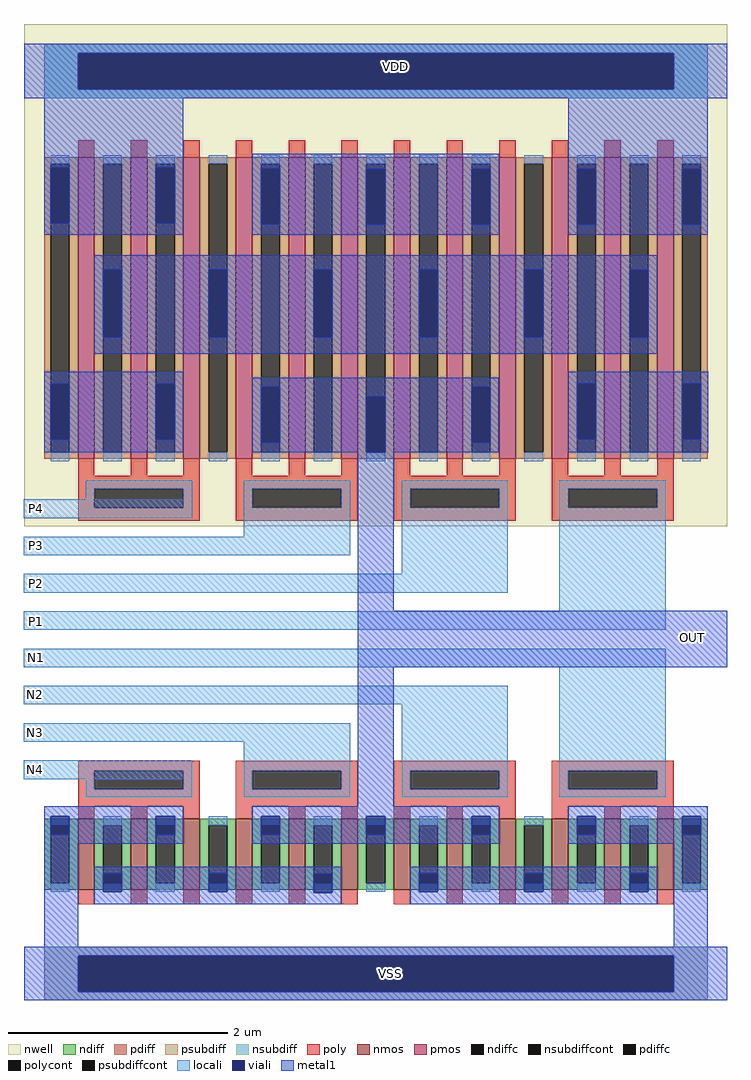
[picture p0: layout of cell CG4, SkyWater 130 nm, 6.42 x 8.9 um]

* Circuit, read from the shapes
.subckt CG4 VDD VSS N1 N2 N3 N4 P1 P2 P3 P4 OUT
XM1 n5 N4 VSS VSS sky130_fd_pr__nfet_01v8 w=0.65 l=0.15 m=3
XM2 OUT N3 n5 VSS sky130_fd_pr__nfet_01v8 w=0.65 l=0.15 m=3
XM3 n6 N2 OUT VSS sky130_fd_pr__nfet_01v8 w=0.65 l=0.15 m=3
XM4 VSS N1 n6 VSS sky130_fd_pr__nfet_01v8 w=0.65 l=0.15 m=3
XM5 n7 P4 VDD VDD sky130_fd_pr__pfet_01v8 w=2.75 l=0.15 m=3
XM6 OUT P3 n7 VDD sky130_fd_pr__pfet_01v8 w=2.75 l=0.15 m=3
XM7 n7 P2 OUT VDD sky130_fd_pr__pfet_01v8 w=2.75 l=0.15 m=3
XM8 VDD P1 n7 VDD sky130_fd_pr__pfet_01v8 w=2.75 l=0.15 m=3
.ends

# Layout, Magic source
magic
tech sky130B
magscale 1 2
<< nwell >>
rect 2 715 1284 922
<< psubdiff >>
rect 38 -777 1248 -761
rect 38 -843 100 -777
rect 1186 -843 1248 -777
rect 38 -858 1248 -843
<< nsubdiff >>
rect 38 869 1248 886
rect 38 803 100 869
rect 1186 803 1248 869
rect 38 787 1248 803
<< psubdiffcont >>
rect 100 -843 1186 -777
<< nsubdiffcont >>
rect 100 803 1186 869
<< locali >>
rect 38 869 1248 886
rect 38 803 100 869
rect 1186 803 1248 869
rect 38 787 1248 803
rect 1 21 308 55
rect 402 -13 596 24
rect 1 -47 596 -13
rect 690 -81 884 24
rect 1 -115 884 -81
rect 978 -149 1172 24
rect 1 -183 1172 -149
rect 1 -251 1172 -217
rect 1 -319 884 -285
rect 1 -387 596 -353
rect 1 -455 308 -421
rect 402 -428 596 -387
rect 690 -424 884 -319
rect 978 -424 1172 -251
rect 38 -777 1248 -761
rect 38 -843 100 -777
rect 1186 -843 1248 -777
rect 38 -858 1248 -843
<< viali >>
rect 100 803 1186 869
rect 50 559 84 661
rect 242 559 276 661
rect 434 557 468 659
rect 626 556 660 658
rect 818 556 852 658
rect 1010 556 1044 658
rect 1202 556 1236 658
rect 146 351 180 475
rect 338 351 372 475
rect 530 351 564 475
rect 722 351 756 475
rect 914 351 948 475
rect 1106 350 1140 474
rect 50 164 84 266
rect 242 164 276 266
rect 434 158 468 260
rect 626 141 660 243
rect 818 158 852 260
rect 1010 165 1044 267
rect 1202 165 1236 267
rect 50 -557 84 -523
rect 242 -557 276 -523
rect 434 -557 468 -523
rect 626 -557 660 -523
rect 818 -557 852 -523
rect 1010 -557 1044 -523
rect 1202 -557 1236 -523
rect 146 -661 180 -627
rect 338 -661 372 -627
rect 530 -662 564 -628
rect 722 -661 756 -627
rect 914 -661 948 -627
rect 1106 -661 1140 -627
rect 100 -843 1186 -777
<< metal1 >>
rect 2 869 1284 886
rect 2 803 100 869
rect 1186 803 1284 869
rect 2 787 1284 803
rect 38 661 292 787
rect 38 559 50 661
rect 84 559 242 661
rect 276 559 292 661
rect 38 538 292 559
rect 418 659 868 685
rect 418 557 434 659
rect 468 658 868 659
rect 468 557 626 658
rect 418 556 626 557
rect 660 556 818 658
rect 852 556 868 658
rect 418 538 868 556
rect 994 658 1248 787
rect 994 556 1010 658
rect 1044 556 1202 658
rect 1236 556 1248 658
rect 994 538 1248 556
rect 130 475 1156 500
rect 130 351 146 475
rect 180 351 338 475
rect 372 351 530 475
rect 564 351 722 475
rect 756 351 914 475
rect 948 474 1156 475
rect 948 351 1106 474
rect 130 350 1106 351
rect 1140 350 1156 474
rect 130 321 1156 350
rect 38 266 292 288
rect 38 164 50 266
rect 84 164 242 266
rect 276 164 292 266
rect 38 141 292 164
rect 418 260 867 277
rect 418 158 434 260
rect 468 243 818 260
rect 468 158 626 243
rect 418 141 626 158
rect 660 158 818 243
rect 852 158 867 260
rect 660 141 867 158
rect 994 267 1249 288
rect 994 165 1010 267
rect 1044 165 1202 267
rect 1236 165 1249 267
rect 994 141 1249 165
rect 610 -148 676 141
rect 610 -251 1284 -148
rect 610 -505 676 -251
rect 38 -523 292 -505
rect 38 -557 50 -523
rect 84 -557 242 -523
rect 276 -557 292 -523
rect 38 -573 292 -557
rect 418 -523 868 -505
rect 418 -557 434 -523
rect 468 -557 626 -523
rect 660 -557 818 -523
rect 852 -557 868 -523
rect 418 -573 868 -557
rect 994 -523 1248 -505
rect 994 -557 1010 -523
rect 1044 -557 1202 -523
rect 1236 -557 1248 -523
rect 994 -573 1248 -557
rect 38 -761 100 -573
rect 130 -627 580 -615
rect 130 -661 146 -627
rect 180 -661 338 -627
rect 372 -628 580 -627
rect 372 -661 530 -628
rect 130 -662 530 -661
rect 564 -662 580 -628
rect 130 -683 580 -662
rect 706 -627 1156 -615
rect 706 -661 722 -627
rect 756 -661 914 -627
rect 948 -661 1106 -627
rect 1140 -661 1156 -627
rect 706 -683 1156 -661
rect 1186 -761 1248 -573
rect 2 -777 1284 -761
rect 2 -843 100 -777
rect 1186 -843 1284 -777
rect 2 -858 1284 -843
use nfet_3_200_15  nfet_3_200_15_0
transform -1 0 211 0 -1 -592
box -173 -170 173 91
use nfet_3_200_15  nfet_3_200_15_1
transform -1 0 499 0 -1 -592
box -173 -170 173 91
use nfet_3_200_15  nfet_3_200_15_2
transform -1 0 1075 0 -1 -592
box -173 -170 173 91
use nfet_3_200_15  nfet_3_200_15_3
transform -1 0 787 0 -1 -592
box -173 -170 173 91
use pfet_3_825_15  pfet_3_825_15_0
transform 1 0 211 0 1 404
box -209 -398 209 311
use pfet_3_825_15  pfet_3_825_15_1
transform 1 0 499 0 1 404
box -209 -398 209 311
use pfet_3_825_15  pfet_3_825_15_2
transform 1 0 787 0 1 404
box -209 -398 209 311
use pfet_3_825_15  pfet_3_825_15_3
transform 1 0 1075 0 1 404
box -209 -398 209 311
<< labels >>
flabel metal1 602 818 756 870 1 FreeSerif 80 0 0 0 VDD
port 1 n
flabel metal1 592 -835 746 -783 1 FreeSerif 80 0 0 0 VSS
port 2 n
flabel locali 13 -243 34 -223 1 FreeSerif 80 0 0 0 N1
port 3 n
flabel locali 12 -311 33 -291 1 FreeSerif 80 0 0 0 N2
port 4 n
flabel locali 12 -380 33 -360 1 FreeSerif 80 0 0 0 N3
port 5 n
flabel locali 12 -448 33 -428 1 FreeSerif 80 0 0 0 N4
port 6 n
flabel locali 13 -177 34 -157 1 FreeSerif 80 0 0 0 P1
port 7 n
flabel locali 13 -108 34 -88 1 FreeSerif 80 0 0 0 P2
port 8 n
flabel locali 13 -39 34 -19 1 FreeSerif 80 0 0 0 P3
port 9 n
flabel locali 13 28 34 48 1 FreeSerif 80 0 0 0 P4
port 10 n
flabel metal1 1183 -228 1257 -164 1 FreeSerif 80 0 0 0 OUT
port 11 n
<< end >>

# cell nfet_3_200_15: kit device sky130_fd_pr__nfet_01v8, w 0.65 l 0.150 m 1 nf 3 diffcov 100 polycov 100 guard 0 glc 1 grc 1 gtc 1 gbc 1 tbcov 100 rlcov 100 topc 1 botc 0 poverlap 0 doverlap 1 lmin 0.15 wmin 0.42 class mosfet compatible {sky130_fd_pr__nfet_01v8 sky130_fd_pr__nfet_01v8_lvt sky130_fd_bs_flash__special_sonosfet_star sky130_fd_pr__nfet_g5v0d10v5 sky130_fd_pr__nfet_05v0_nvt sky130_fd_pr__nfet_03v3_nvt} full_metal 1 viasrc 100 viadrn 100 viagate 100 viagb 0 viagr 0 viagl 0 viagt 0

# cell pfet_3_825_15: kit device sky130_fd_pr__pfet_01v8, w 2.75 l 0.15 m 1 nf 3 diffcov 100 polycov 100 guard 0 glc 1 grc 1 gtc 1 gbc 1 tbcov 100 rlcov 100 topc 1 botc 0 poverlap 0 doverlap 1 lmin 0.15 wmin 0.42 class mosfet compatible {sky130_fd_pr__pfet_01v8 sky130_fd_pr__pfet_01v8_lvt sky130_fd_pr__pfet_01v8_hvt sky130_fd_pr__pfet_g5v0d10v5} full_metal 1 viasrc 100 viadrn 100 viagate 100 viagb 0 viagr 0 viagl 0 viagt 0
